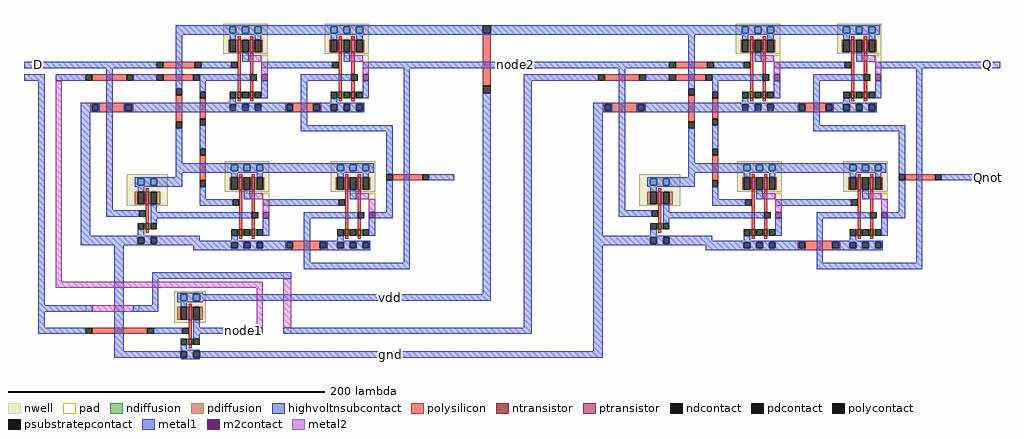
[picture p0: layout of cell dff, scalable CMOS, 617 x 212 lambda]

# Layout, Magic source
magic
tech scmos
<< nwell >>
rect 66 -34 86 -14
<< polysilicon >>
rect 261 116 266 149
rect 75 -24 77 -22
rect 14 -41 49 -37
rect 75 -44 77 -32
rect 75 -50 77 -48
<< ndiffusion >>
rect 74 -48 75 -44
rect 77 -48 78 -44
<< pdiffusion >>
rect 68 -32 70 -24
rect 74 -32 75 -24
rect 77 -32 78 -24
rect 82 -32 84 -24
<< metal1 >>
rect 188 149 261 154
rect 266 149 391 154
rect 188 148 391 149
rect -29 127 9 131
rect 242 127 326 131
rect 565 127 588 131
rect -29 119 -16 123
rect -9 119 2 123
rect 287 119 325 123
rect -20 -23 -16 119
rect -20 -27 14 -23
rect -20 -37 -16 -27
rect -20 -41 10 -37
rect 28 -52 34 16
rect 52 -6 140 -2
rect 52 -23 56 -6
rect 68 -16 84 -15
rect 261 -16 266 111
rect 68 -20 70 -16
rect 74 -20 78 -16
rect 82 -20 266 -16
rect 68 -21 84 -20
rect 40 -27 56 -23
rect 70 -24 74 -21
rect 78 -37 82 -32
rect 287 -37 292 119
rect 565 56 588 60
rect 53 -41 71 -37
rect 78 -41 122 -37
rect 135 -41 292 -37
rect 78 -44 82 -41
rect 70 -51 74 -48
rect 70 -52 82 -51
rect 331 -52 337 16
rect 28 -56 70 -52
rect 74 -56 78 -52
rect 82 -56 337 -52
rect 70 -57 82 -56
<< metal2 >>
rect -9 -8 -5 119
rect -9 -12 122 -8
rect 14 -27 40 -23
rect 118 -37 122 -12
rect 135 -37 140 -6
<< ntransistor >>
rect 75 -48 77 -44
<< ptransistor >>
rect 75 -32 77 -24
<< polycontact >>
rect 261 149 266 154
rect 261 111 266 116
rect 10 -41 14 -37
rect 49 -41 53 -37
rect 71 -41 75 -37
<< ndcontact >>
rect 70 -48 74 -44
rect 78 -48 82 -44
<< pdcontact >>
rect 70 -32 74 -24
rect 78 -32 82 -24
<< psubstratepcontact >>
rect 70 -56 74 -52
rect 78 -56 82 -52
<< highvoltnsubcontact >>
rect 70 -20 74 -16
rect 78 -20 82 -16
<< pad >>
rect -9 119 -5 123
rect 135 -6 140 -2
rect 10 -27 14 -23
rect 40 -27 44 -23
rect 118 -41 122 -37
rect 135 -41 140 -37
use dlatch dlatch_0
transform 1 0 144 0 1 121
box -144 -121 99 34
use dlatch dlatch_1
transform 1 0 468 0 1 121
box -144 -121 99 34
<< labels >>
rlabel metal1 -20 129 -20 129 1 D
rlabel metal1 -20 121 -20 121 1 clk
rlabel metal1 203 -54 203 -54 1 gnd
rlabel metal1 203 -18 203 -18 1 vdd
rlabel metal1 580 129 580 129 1 Q
rlabel metal1 581 58 581 58 1 Qnot
rlabel metal1 282 129 282 129 1 node2
rlabel metal1 110 -39 110 -39 1 node1
<< end >>

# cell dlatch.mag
magic
tech scmos
<< nwell >>
rect -108 -81 -82 -61
<< polysilicon >>
rect -85 6 -65 10
rect -130 -2 -108 2
rect -85 -2 -66 2
rect -131 -17 -104 -16
rect -131 -21 -130 -17
rect -126 -21 -109 -17
rect -105 -21 -104 -17
rect -131 -22 -104 -21
rect -77 -28 -73 -11
rect -62 -26 -58 -13
rect -8 -17 15 -16
rect -8 -21 -7 -17
rect -3 -21 10 -17
rect 14 -21 15 -17
rect -8 -22 15 -21
rect -62 -65 -58 -49
rect 60 -65 79 -61
rect -96 -72 -94 -70
rect -96 -92 -94 -80
rect -96 -98 -94 -96
rect -8 -104 19 -103
rect -8 -108 -7 -104
rect -3 -108 14 -104
rect 18 -108 19 -104
rect -8 -109 19 -108
<< ndiffusion >>
rect -97 -96 -96 -92
rect -94 -96 -93 -92
<< pdiffusion >>
rect -103 -80 -101 -72
rect -97 -80 -96 -72
rect -94 -80 -93 -72
rect -89 -80 -87 -72
<< metal1 >>
rect -77 27 -46 33
rect -20 27 18 33
rect -144 6 -89 10
rect -144 -2 -134 2
rect -137 -17 -125 -16
rect -137 -21 -130 -17
rect -126 -21 -125 -17
rect -137 -22 -125 -21
rect -137 -100 -131 -22
rect -121 -84 -117 6
rect -104 -2 -89 2
rect -77 -7 -73 27
rect -61 6 -50 10
rect -23 6 14 10
rect 41 6 98 10
rect -62 -2 -50 2
rect 2 -2 17 2
rect -62 -9 -58 -2
rect -110 -17 -44 -16
rect -110 -21 -109 -17
rect -105 -19 -44 -17
rect -22 -17 -3 -16
rect -22 -19 -7 -17
rect -105 -21 -7 -19
rect -110 -22 -3 -21
rect -77 -54 -73 -32
rect -62 -45 -58 -30
rect 2 -30 6 -2
rect 10 -17 20 -16
rect 14 -21 20 -17
rect 10 -22 20 -21
rect 2 -34 60 -30
rect -77 -60 -45 -54
rect -19 -60 22 -54
rect -77 -63 -73 -60
rect -103 -64 -73 -63
rect -103 -68 -101 -64
rect -97 -68 -93 -64
rect -89 -68 -73 -64
rect 56 -61 60 -34
rect -103 -69 -73 -68
rect -101 -72 -97 -69
rect -121 -88 -100 -84
rect -93 -85 -89 -80
rect -62 -77 -58 -69
rect -62 -81 -48 -77
rect -22 -81 19 -77
rect 56 -85 60 -65
rect -93 -89 -49 -85
rect 4 -89 18 -85
rect 45 -89 60 -85
rect -93 -92 -89 -89
rect -101 -100 -97 -96
rect -137 -101 -62 -100
rect -137 -105 -101 -101
rect -97 -105 -93 -101
rect -89 -103 -62 -101
rect -89 -105 -42 -103
rect -137 -106 -42 -105
rect -66 -109 -42 -106
rect -21 -104 -3 -103
rect -21 -108 -7 -104
rect -21 -109 -3 -108
rect 4 -117 8 -89
rect 14 -104 24 -103
rect 18 -108 24 -104
rect 14 -109 24 -108
rect 67 -117 71 6
rect 83 -65 99 -61
rect 4 -121 71 -117
<< ntransistor >>
rect -96 -96 -94 -92
<< ptransistor >>
rect -96 -80 -94 -72
<< polycontact >>
rect -89 6 -85 10
rect -65 6 -61 10
rect -134 -2 -130 2
rect -108 -2 -104 2
rect -89 -2 -85 2
rect -66 -2 -62 2
rect -77 -11 -73 -7
rect -130 -21 -126 -17
rect -109 -21 -105 -17
rect -77 -32 -73 -28
rect -62 -13 -58 -9
rect -7 -21 -3 -17
rect 10 -21 14 -17
rect -62 -30 -58 -26
rect -62 -49 -58 -45
rect 56 -65 60 -61
rect 79 -65 83 -61
rect -62 -69 -58 -65
rect -100 -88 -96 -84
rect -7 -108 -3 -104
rect 14 -108 18 -104
<< ndcontact >>
rect -101 -96 -97 -92
rect -93 -96 -89 -92
<< pdcontact >>
rect -101 -80 -97 -72
rect -93 -80 -89 -72
<< psubstratepcontact >>
rect -101 -105 -97 -101
rect -93 -105 -89 -101
<< highvoltnsubcontact >>
rect -101 -68 -97 -64
rect -93 -68 -89 -64
<< pad >>
rect -23 6 -19 10
rect 41 6 45 10
rect -22 -81 -18 -77
use nand nand_0
transform 1 0 -34 0 1 14
box -16 -36 15 20
use nand nand_1
transform 1 0 30 0 1 14
box -16 -36 15 20
use nand nand_2
transform 1 0 -33 0 1 -73
box -16 -36 15 20
use nand nand_3
transform 1 0 34 0 1 -73
box -16 -36 15 20
<< labels >>
rlabel metal1 -95 -66 -95 -66 1 vdd
rlabel metal1 -95 -103 -95 -103 1 gnd
rlabel metal1 -142 8 -142 8 3 input1
rlabel metal1 -142 0 -142 0 3 input2
rlabel metal1 91 8 91 8 1 Q
rlabel metal1 93 -63 93 -63 1 Qnot
rlabel metal1 1 8 1 8 1 node1
rlabel metal1 3 -79 3 -79 1 node2
rlabel metal1 -65 -87 -65 -87 1 node3
<< end >>

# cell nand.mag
magic
tech scmos
<< nwell >>
rect -13 1 15 20
<< polysilicon >>
rect -4 10 -2 12
rect 4 10 6 12
rect -4 -23 -2 2
rect 4 -12 6 2
rect 4 -23 6 -16
rect -4 -29 -2 -27
rect 4 -29 6 -27
<< ndiffusion >>
rect -5 -27 -4 -23
rect -2 -27 -1 -23
rect 3 -27 4 -23
rect 6 -27 7 -23
<< pdiffusion >>
rect -10 2 -9 10
rect -5 2 -4 10
rect -2 2 -1 10
rect 3 2 4 10
rect 6 2 7 10
rect 11 2 12 10
<< metal1 >>
rect -12 18 14 19
rect -12 14 -9 18
rect -5 14 -1 18
rect 3 14 7 18
rect 11 14 14 18
rect -12 13 14 14
rect -9 10 -5 13
rect 7 10 11 13
rect -1 -4 3 2
rect -16 -8 -8 -4
rect -16 -16 4 -12
rect 11 -27 15 -16
rect -9 -30 -5 -27
rect -10 -31 12 -30
rect -10 -35 -9 -31
rect -5 -35 -1 -31
rect 3 -35 7 -31
rect 11 -35 12 -31
rect -10 -36 12 -35
<< metal2 >>
rect 3 -4 11 0
rect 11 -12 15 -4
<< ntransistor >>
rect -4 -27 -2 -23
rect 4 -27 6 -23
<< ptransistor >>
rect -4 2 -2 10
rect 4 2 6 10
<< polycontact >>
rect -8 -8 -4 -4
rect 4 -16 8 -12
<< ndcontact >>
rect -9 -27 -5 -23
rect -1 -27 3 -23
rect 7 -27 11 -23
<< pdcontact >>
rect -9 2 -5 10
rect -1 2 3 10
rect 7 2 11 10
<< m2contact >>
rect 11 -16 15 -12
<< psubstratepcontact >>
rect -9 -35 -5 -31
rect -1 -35 3 -31
rect 7 -35 11 -31
<< highvoltnsubcontact >>
rect -9 14 -5 18
rect -1 14 3 18
rect 7 14 11 18
<< pad >>
rect -1 -4 3 0
rect 11 -4 15 0
<< labels >>
rlabel metal1 5 16 5 16 5 vdd
rlabel metal1 5 -33 5 -33 1 gnd
rlabel metal1 -10 -6 -10 -6 1 in1
rlabel metal1 -9 -14 -9 -14 1 in2
rlabel metal2 13 -9 13 -9 7 out
<< end >>
